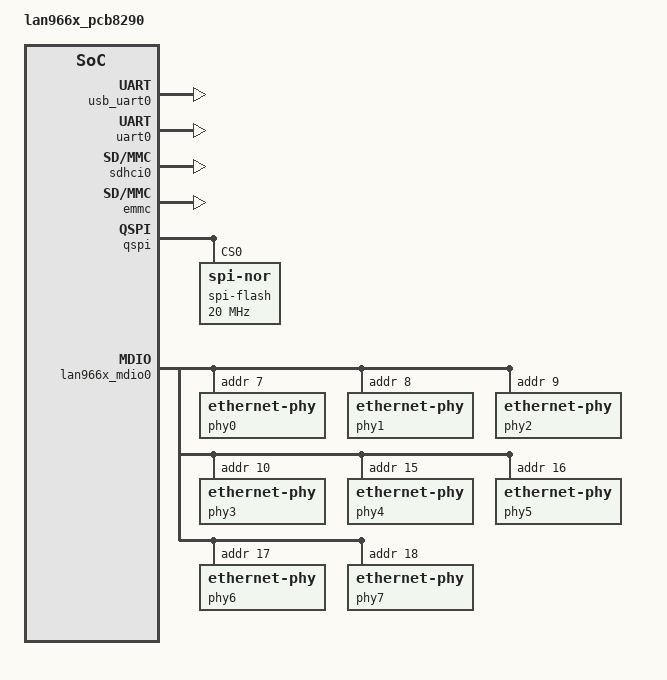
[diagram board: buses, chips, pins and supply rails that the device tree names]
/dts-v1/;
#include "lan966x.dtsi"

/ {
	model = "lan966x_pcb8290";

	chosen {
		stdout-path = &usb_uart0;
	};

	ahb {
		apb {
			usb_uart0: serial@e0808000 {
				status = "okay";
			};

			uart0: serial@e0040200 {
				status = "okay";
			};

			sdhci0: sdhci-host@e0830000 {
				status = "okay";
			};

			emmc: emmc@e0830000 {
				status = "okay";
			};

			qspi: qspi@e0834000 {
				status = "okay";

				spi-flash@0 {
					status = "okay";
					compatible = "jedec,spi-nor";
					reg = <0>;
					spi-max-frequency = <20000000>;
				};
			};

			lan966x_mdio0: mdio@4118 {
				status = "okay";

				phy0: ethernet-phy@0 {
					reg = <7>;
				};
				phy1: ethernet-phy@1 {
					reg = <8>;
				};
				phy2: ethernet-phy@2 {
					reg = <9>;
				};
				phy3: ethernet-phy@3 {
					reg = <10>;
				};
				phy4: ethernet-phy@4 {
					reg = <15>;
				};
				phy5: ethernet-phy@5 {
					reg = <16>;
				};
				phy6: ethernet-phy@6 {
					reg = <17>;
				};
				phy7: ethernet-phy@7 {
					reg = <18>;
				};
			};

			lan966x_switch: switch@0 {
				status = "okay";

				pinctrl-0 = <&miim_a_pins>;
				pinctrl-names = "default";

				ethernet-ports {
					port2: port@2 {
						reg = <2>;
						phy-handle = <&phy2>;
						phys = <&serdes 1>;
						phy-mode = "qsgmii";
					};

					port3: port@3 {
						reg = <3>;
						phy-handle = <&phy3>;
						phys = <&serdes 1>;
						phy-mode = "qsgmii";
					};

					port0: port@0 {
						reg = <0>;
						phy-handle = <&phy0>;
						phys = <&serdes 1>;
						phy-mode = "qsgmii";
					};

					port1: port@1 {
						reg = <1>;
						phy-handle = <&phy1>;
						phys = <&serdes 1>;
						phy-mode = "qsgmii";
					};

					port6: port@6 {
						reg = <6>;
						phy-handle = <&phy6>;
						phys = <&serdes 2>;
						phy-mode = "qsgmii";
					};

					port7: port@7 {
						reg = <7>;
						phy-handle = <&phy7>;
						phys = <&serdes 2>;
						phy-mode = "qsgmii";
					};

					port4: port@4 {
						reg = <4>;
						phy-handle = <&phy4>;
						phys = <&serdes 2>;
						phy-mode = "qsgmii";
					};

					port5: port@5 {
						reg = <5>;
						phy-handle = <&phy5>;
						phys = <&serdes 2>;
						phy-mode = "qsgmii";
					};
				};
			};
		};
	};
};
